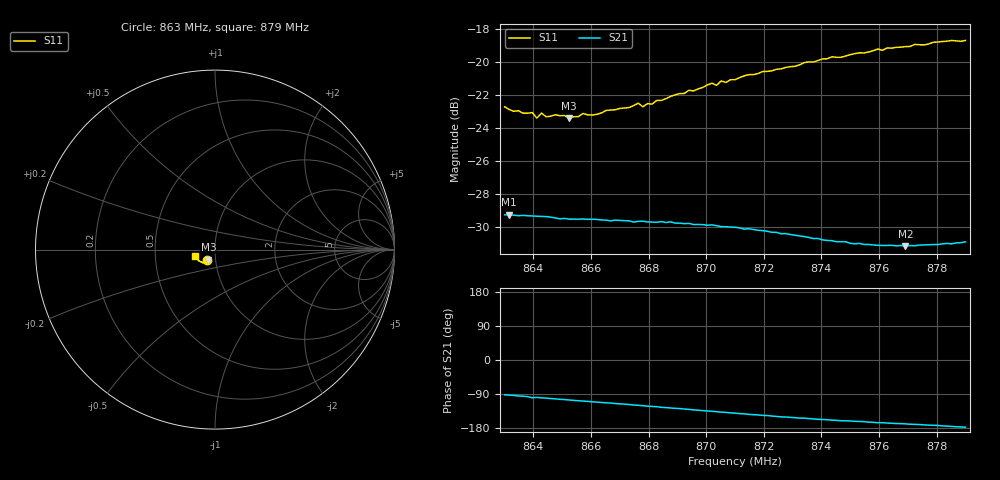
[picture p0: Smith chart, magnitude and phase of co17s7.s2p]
# HZ S RI R 50
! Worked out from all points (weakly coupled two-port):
!   101 points, 863 MHz to 879 MHz, reference 50 ohm
!   highest |S21| = -29.26 dB at 863.16 MHz (marker M1); lowest = -31.2 dB at 876.92 MHz (marker M2)
!   lowest |S11| = -23.4 dB at 865.24 MHz (marker M3), VSWR 1.14, Z = 46.1 - j5.21 ohm
!   |S11| at or under -10 dB: start of sweep to end of sweep
!   S12 and S22 are empty: the file has one direction only
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8.63e8  -0.0466 -0.0563  -0.00102 -0.0344  0 0  0 0
8.6316e8  -0.0447 -0.0561  -0.00159 -0.0344  0 0  0 0
8.6396e8  -0.0441 -0.0545  -0.00575 -0.0337  0 0  0 0
8.6412e8  -0.0394 -0.0548  -0.0051 -0.0337  0 0  0 0
8.6428e8  -0.0396 -0.0576  -0.00591 -0.0335  0 0  0 0
8.6444e8  -0.0399 -0.0552  -0.00622 -0.0334  0 0  0 0
8.6476e8  -0.0386 -0.0574  -0.0073 -0.0329  0 0  0 0
8.6524e8  -0.0371 -0.0563  -0.00896 -0.0322  0 0  0 0
8.6572e8  -0.037 -0.0591  -0.0105 -0.0318  0 0  0 0
8.662e8  -0.0358 -0.0594  -0.012 -0.0311  0 0  0 0
8.6764e8  -0.0383 -0.0644  -0.0162 -0.0286  0 0  0 0
8.678e8  -0.037 -0.063  -0.0168 -0.0283  0 0  0 0
8.6844e8  -0.038 -0.0663  -0.0188 -0.0269  0 0  0 0
8.702e8  -0.0466 -0.0724  -0.0228 -0.0226  0 0  0 0
8.7036e8  -0.0461 -0.0712  -0.0231 -0.0221  0 0  0 0
8.7052e8  -0.0488 -0.0726  -0.0234 -0.0214  0 0  0 0
8.71e8  -0.0505 -0.0724  -0.0243 -0.0202  0 0  0 0
8.7372e8  -0.0687 -0.0724  -0.0265 -0.0121  0 0  0 0
8.7436e8  -0.0756 -0.0707  -0.0268 -0.0105  0 0  0 0
8.7644e8  -0.0924 -0.0596  -0.0271 -0.00629  0 0  0 0
8.7692e8  -0.0957 -0.0565  -0.0271 -0.00547  0 0  0 0
8.79e8  -0.1098 -0.0375  -0.0285 -0.00137  0 0  0 0
